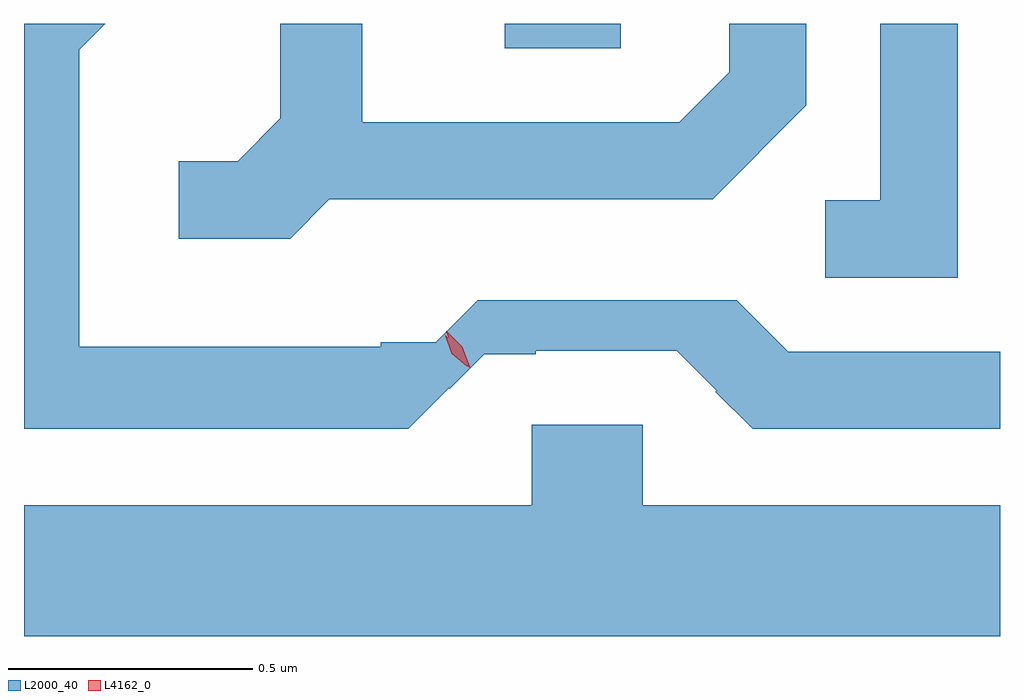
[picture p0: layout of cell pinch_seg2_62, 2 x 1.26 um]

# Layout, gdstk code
import gdstk
lib = gdstk.Library(unit=1e-6, precision=1e-09)
def R(c, l, rs):  # rectangles x0, y0, x1, y1
    for r in rs: c.add(gdstk.rectangle(r[:2], r[2:], *l))
def P(c, l, *ps):  # polygons
    for p in ps: c.add(gdstk.Polygon(p, *l))
L2000_40 = (2000, 40)
L4162_0 = (4162, 0)

pinch_seg2_62 = lib.new_cell('pinch_seg2_62')
R(pinch_seg2_62, L2000_40, [(1222.931,1076.161,1223.169,1076.211)])
P(pinch_seg2_62, L2000_40, [(1222.816,1075.464),(1222.818,1075.463),(1222.889,1075.534),(1222.995,1075.534),(1222.995,1075.541),(1223.284,1075.541),(1223.366,1075.459),(1223.363,1075.457),(1223.439,1075.381),(1223.946,1075.381),(1223.946,1075.539),(1223.512,1075.539),(1223.407,1075.644),(1222.876,1075.644),(1222.79,1075.558),(1222.677,1075.558),(1222.677,1075.549),(1222.059,1075.549),(1222.059,1076.158),(1222.112,1076.211),(1221.946,1076.211),(1221.946,1075.381),(1222.733,1075.381)],
  [(1222.572,1075.851),(1223.357,1075.851),(1223.549,1076.044),(1223.549,1076.211),(1223.391,1076.211),(1223.391,1076.112),(1223.289,1076.009),(1222.639,1076.009),(1222.639,1076.211),(1222.471,1076.211),(1222.471,1076.017),(1222.384,1075.929),(1222.263,1075.929),(1222.263,1075.771),(1222.492,1075.771)],
  [(1223.859,1076.211),(1223.701,1076.211),(1223.701,1075.849),(1223.588,1075.849),(1223.588,1075.691),(1223.859,1075.691)],
  [(1223.946,1075.224),(1223.214,1075.224),(1223.214,1075.389),(1222.986,1075.389),(1222.986,1075.224),(1221.946,1075.224),(1221.946,1074.956),(1223.946,1074.956)])
P(pinch_seg2_62, L4162_0, [(1222.86,1075.505),(1222.859,1075.506),(1222.827,1075.538),(1222.811,1075.581),(1222.811,1075.582),(1222.812,1075.581),(1222.844,1075.549),(1222.86,1075.506)],
  [(1222.853,1075.509),(1222.823,1075.535),(1222.809,1075.572),(1222.809,1075.573),(1222.81,1075.572),(1222.84,1075.546),(1222.854,1075.51),(1222.854,1075.509)])

lib.write_gds('pinch_seg2_62.gds')
